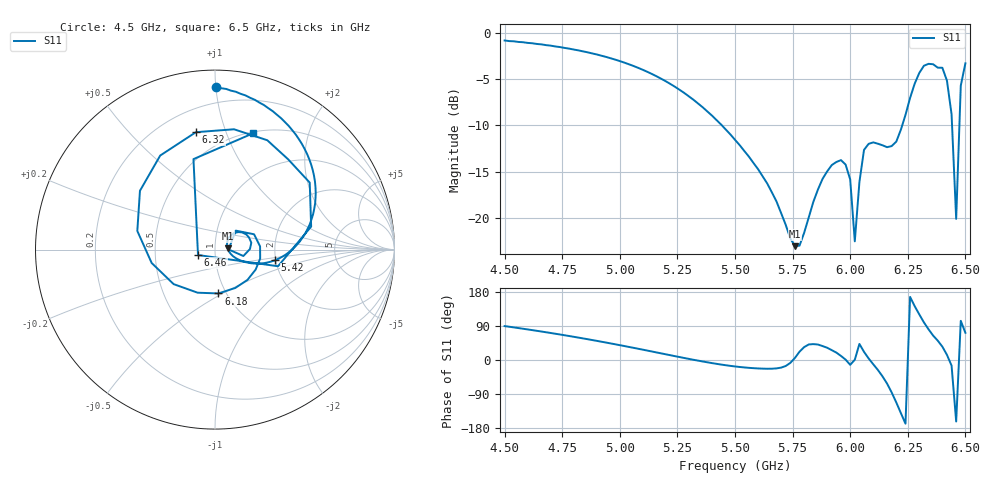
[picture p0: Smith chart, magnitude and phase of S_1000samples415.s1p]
! TOUCHSTONE file generated by CST MICROWAVE STUDIO
! Date and time: Fri Oct 28 02:31:00 2022
! Project name: L.cst
! Parameters = {Di=1.27; Epsilon_r=1.56; InnerDiameter=1.27; Length=2; Lf=10; Lg=60; OuterConductorThickness=0.2921; OuterDiameter=3.6; Wf=3; Wp=41.2; de=1.5; df=6.8; g=0.8; gx=3.04829; gy=4.47914; h=2.34; hf=1.524; px=14.9216; py=8.88112; w=9.7; wx=11.8733; wy=4.40198}
! Header version: 2018
! Port assignment regex: !\s*Touchstone port\s*([0-9]+)\s*=\s*(CST MWS port|CST DS port)\s*([0-9]+|Zmin|Zmax)\s*\(\"(.*)\"\)(\s*mode\s*([0-9]+))?.*
! Touchstone port assignment:
! Touchstone port 1 = CST MWS port 1 ("")
# GHz S DB R 50
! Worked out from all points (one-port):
!   101 points, 4.5 GHz to 6.5 GHz, reference 50 ohm
!   lowest |S11| = -23.0 dB at 5.76 GHz (marker M1), VSWR 1.15, Z = 57.6 + j0.771 ohm
!   |S11| at or under -10 dB: 5.444 GHz to 6.226 GHz (782.1 MHz wide, 13.4 % of centre); 6.442138 GHz to 6.474017 GHz (31.88 MHz wide, 0.494 % of centre)
!   S11 on the Smith chart (normalised r, x): 4.5 GHz: 0.10, +1.00; 5.42 GHz: 1.97, -0.27; 6.18 GHz: 0.92, -0.48; 6.32 GHz: 0.34, +0.79; 6.46 GHz: 0.83, -0.05; 6.5 GHz: 0.51, +1.25
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4.5  -0.85 89.5
4.76  -1.65 65.3
5  -3.07 39.1
5.26  -6.17 7.7
5.42  -9.42 -10.1
5.5  -11.54 -17.0
5.64  -16.25 -23.1
5.76  -22.99 5.4
5.78  -22.93 21.9
5.92  -14.26 26.0
5.96  -13.73 10.7
6  -15.80 -12.8
6.02  -22.46 0.7
6.04  -16.09 42.4
6.06  -12.62 21.4
6.12  -11.96 -26.1
6.18  -12.22 -85.6
6.22  -10.45 -140.2
6.26  -7.03 166.5
6.28  -5.49 141.9
6.32  -3.57 99.2
6.36  -3.41 64.4
6.4  -3.79 35.3
6.42  -5.18 13.5
6.44  -8.80 -14.8
6.46  -20.05 -162.3
6.48  -5.71 103.4
6.5  -3.31 71.7
